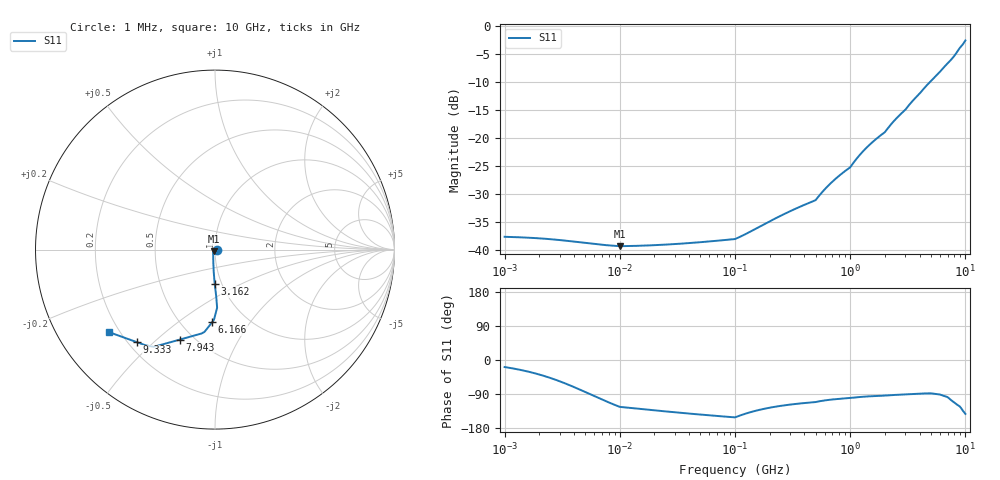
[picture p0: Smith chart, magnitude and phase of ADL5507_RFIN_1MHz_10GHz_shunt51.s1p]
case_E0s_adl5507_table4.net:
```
# ADL5507 Table 4
Pac:P1 n1 gnd Num="1" Z="50 Ohm" P="0 dBm" f="1e9"
SPfile:CHIP n1 gnd File="ADL5507_RFIN_1MHz_10GHz_shunt51.s1p" Data="rectangular" Interpolator="linear" duringDC="open"
.SP:SP1 Type="log" Start="1e6" Stop="1e10" Points="401"
```
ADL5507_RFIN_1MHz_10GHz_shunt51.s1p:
! ADL5507 RFIN input reflection, variant 'shunt51', 1 MHz - 10 GHz (see adl5507_input_model.py)
! Data: ADL5507 Rev. 0 datasheet, Table 4, 10 MHz - 15 GHz; below 10 MHz extrapolated (series 25 pF coupling capacitor).
! 1-port: RFIN to ground (COMM). Reference impedance 50 ohm.
# HZ S RI R 50
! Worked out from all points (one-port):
!   401 points, 1 MHz to 10 GHz, reference 50 ohm
!   lowest |S11| = -39.3 dB at 10 MHz (marker M1), VSWR 1.02, Z = 49.4 - j0.889 ohm
!   |S11| at or under -10 dB: start of sweep to 4.895 GHz
!   S11 on the Smith chart (normalised r, x): 1 MHz: 1.03, -0.01; 3.162 GHz: 0.93, -0.37; 6.166 GHz: 0.70, -0.68; 7.943 GHz: 0.42, -0.60; 9.333 GHz: 0.23, -0.44; 10 GHz: 0.16, -0.33
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1000000  0.0124 -0.00418
1e7  -0.006 -0.009
2.187762e7  -0.0077 -0.00798
1e8  -0.011 -0.006
4.677351e8  -0.01 -0.0252
1.905461e9  -0.00814 -0.1089
3.162278e9  -0.00135 -0.192
4.897788e9  0.0114 -0.3162
6.16595e9  -0.0161 -0.4047
7.079458e9  -0.0749 -0.4674
7.943282e9  -0.1965 -0.5019
8.709636e9  -0.3122 -0.5336
9.332543e9  -0.4363 -0.5154
1e10  -0.593 -0.459
